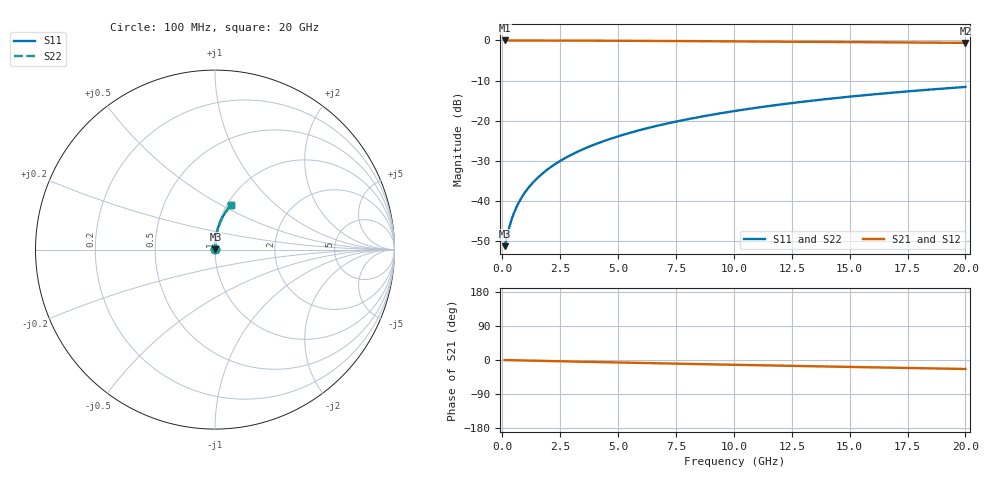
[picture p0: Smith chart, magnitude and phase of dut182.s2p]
! Touchstone file exported from HFSS 2024.1.0
!  File:  C:/UserFiles/LocalFiles/RDL_TSV_Batchsim/temp_RDL_bottom_182_1778698735.aedt
!  Generated:  03:01:32 AM May 14, 2026
!  Design:  RDL_bottom
!  Project:  temp_RDL_bottom_182_1778698735
!  Setup:  Setup1
!  Solution:  Sweep
! Variables:
!  dtsv = 10.80580581um
!  hbump = 3um
!  htsv = 63.73um
!  ldown = 300.5um
!  lrdl = 100um
!  p = 40
!  p1 = 44.63um
!  rhole = 1um
!  t = 450um
!  tdown = 2.76um
!  trdl = 3.915915916um
!  wdown = 17.84um
!  wrdl = 20um
# GHz S MA R 50.000000
! Terminal data exported
! Port[1] = RDL1_T1
! Port[2] = RDL1_T2
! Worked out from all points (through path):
!   200 points, 100 MHz to 20 GHz, reference 50 ohm
!   highest |S21| = -0.02 dB at 100 MHz (marker M1); lowest = -0.6 dB at 20 GHz (marker M2)
!   group delay of S21, straight-line fit = 3.27 ps
!   lowest |S11| = -51.2 dB at 100 MHz (marker M3), VSWR 1.01, Z = 50.2 + j0.136 ohm
!   |S11| at or under -10 dB: start of sweep to end of sweep
!   |S22| runs from -51.2 to -11.6 dB; largest |S21 - S12| = 2.7e-15
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0.1  0.002756 29.4  0.9976 -0.1  0.9976 -0.1  0.002756 29.4
! Gamma 0 0 0 0
! Port Impedance 50 0 50 0
0.3  0.004728 57.8  0.9974 -0.4  0.9974 -0.4  0.004728 57.8
0.4  0.00589 63.8  0.9974 -0.6  0.9974 -0.6  0.00589 63.8
0.5  0.007077 67.8  0.9973 -0.7  0.9973 -0.7  0.007077 67.8
0.6  0.008272 70.6  0.9972 -0.8  0.9972 -0.8  0.008273 70.6
0.8  0.01067 74.5  0.997 -1.1  0.997 -1.1  0.01067 74.5
1.1  0.01431 77.9  0.9967 -1.5  0.9967 -1.5  0.01431 77.9
1.3  0.01675 79.4  0.9965 -1.8  0.9965 -1.8  0.01675 79.4
1.6  0.02043 81.0  0.9961 -2.1  0.9961 -2.1  0.02043 81.0
2.1  0.02665 82.7  0.9955 -2.8  0.9955 -2.8  0.02665 82.7
2.7  0.0342 83.8  0.9945 -3.6  0.9945 -3.6  0.0342 83.8
3.5  0.04442 84.6  0.9929 -4.6  0.9929 -4.6  0.04442 84.6
4.2  0.05349 84.8  0.9913 -5.5  0.9913 -5.5  0.05349 84.8
5  0.06401 84.7  0.9891 -6.6  0.9891 -6.6  0.064 84.7
5.9  0.076 84.4  0.9865 -7.7  0.9865 -7.7  0.07599 84.4
6.8  0.08813 83.9  0.9836 -8.8  0.9836 -8.8  0.08812 83.9
8.4  0.1099 82.7  0.978 -10.7  0.978 -10.7  0.1099 82.7
10.1  0.1333 81.1  0.9718 -12.7  0.9718 -12.7  0.1332 81.1
11.7  0.1551 79.4  0.9656 -14.6  0.9656 -14.6  0.1551 79.4
13.4  0.1782 77.6  0.9589 -16.5  0.9589 -16.5  0.1781 77.6
16.7  0.2217 73.8  0.9453 -20.2  0.9453 -20.2  0.2217 73.8
20  0.2634 70.1  0.931 -23.7  0.931 -23.7  0.2634 70.1
